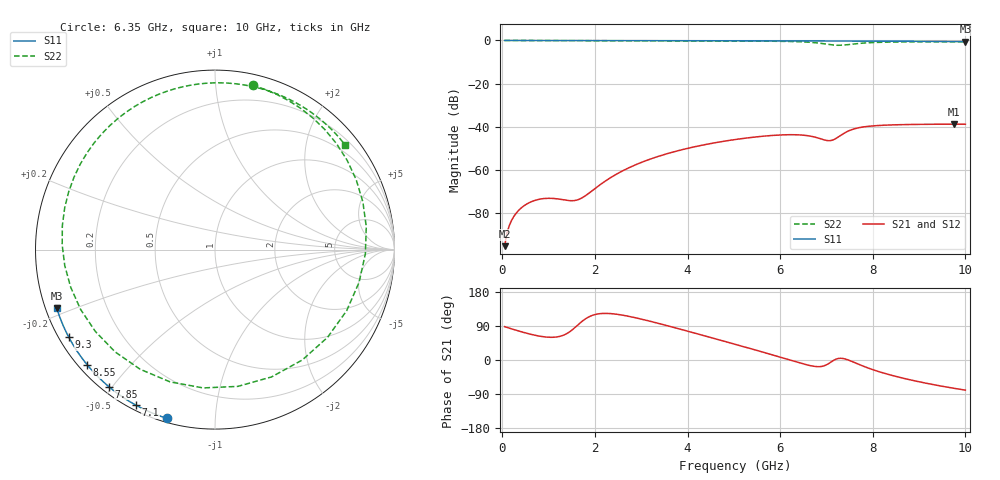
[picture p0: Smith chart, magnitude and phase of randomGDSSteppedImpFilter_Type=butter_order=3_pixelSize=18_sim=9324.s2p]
! freq	dB(S11)	phase(S11)	dB(S12)	phase(S12)
!  dB(S21)	phase(S21)	dB(S22)	phase(S22)
!S-par simulation data
#  GHz  S  DB  R 50
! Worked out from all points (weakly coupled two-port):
!   200 points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, 50 MHz to 10 GHz, reference 50 ohm
!   highest |S21| = -38.80 dB at 9.75 GHz (marker M1); lowest = -95.3 dB at 50 MHz (marker M2)
!   lowest |S11| = -0.5 dB at 10 GHz (marker M3), VSWR 32.17, Z = 1.6 - j8.93 ohm
!   |S11| at or under -10 dB: nowhere
!   |S22| runs from -2.2 to 0.0 dB; largest |S21 - S12| = 0
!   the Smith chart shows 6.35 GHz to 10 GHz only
!   S11 on the Smith chart (normalised r, x): 6.35 GHz: 0.02, -0.76; 7.1 GHz: 0.02, -0.61; 7.85 GHz: 0.02, -0.49; 8.55 GHz: 0.02, -0.38; 9.3 GHz: 0.03, -0.28; 10 GHz: 0.03, -0.18
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0.05  -0.00 -0.9  -95.32 88.0  -95.32 88.0  -0.00 -3.0
0.3  -0.01 -5.4  -80.03 78.5  -80.03 78.5  -0.02 -18.0
0.95  -0.02 -17.2  -73.17 60.5  -73.17 60.5  -0.07 -55.2
1.75  -0.04 -31.4  -72.58 104.6  -72.58 104.6  -0.10 -95.4
2.6  -0.06 -46.2  -60.40 118.3  -60.40 118.3  -0.13 -131.1
3.4  -0.08 -59.6  -53.51 95.8  -53.51 95.8  -0.15 -160.2
4.25  -0.10 -73.5  -48.82 67.8  -48.82 67.8  -0.19 170.9
5.05  -0.13 -86.1  -45.84 40.7  -45.84 40.7  -0.24 142.7
5.75  -0.16 -96.8  -44.15 16.4  -44.15 16.4  -0.33 113.5
6.35  -0.20 -105.8  -43.70 -5.0  -43.70 -5.0  -0.55 77.1
6.7  -0.22 -111.0  -44.53 -16.0  -44.53 -16.0  -0.93 41.1
6.95  -0.23 -114.7  -46.06 -15.3  -46.06 -15.3  -1.53 -1.5
7.1  -0.24 -116.9  -46.35 -5.2  -46.35 -5.2  -1.99 -37.9
7.3  -0.26 -119.8  -44.09 4.6  -44.09 4.6  -2.23 -94.9
7.5  -0.27 -122.7  -41.71 -1.4  -41.71 -1.4  -1.85 -145.6
7.65  -0.29 -124.9  -40.67 -9.0  -40.67 -9.0  -1.50 -174.0
7.85  -0.30 -127.8  -39.91 -18.9  -39.91 -18.9  -1.15 158.5
8.35  -0.35 -135.1  -39.18 -38.5  -39.18 -38.5  -0.76 116.0
8.55  -0.37 -138.0  -39.05 -44.9  -39.05 -44.9  -0.69 103.9
9.3  -0.45 -149.1  -38.83 -64.8  -38.83 -64.8  -0.60 67.6
9.75  -0.51 -155.9  -38.80 -74.6  -38.80 -74.6  -0.60 48.9
10  -0.54 -159.7  -38.81 -79.5  -38.81 -79.5  -0.63 38.9
